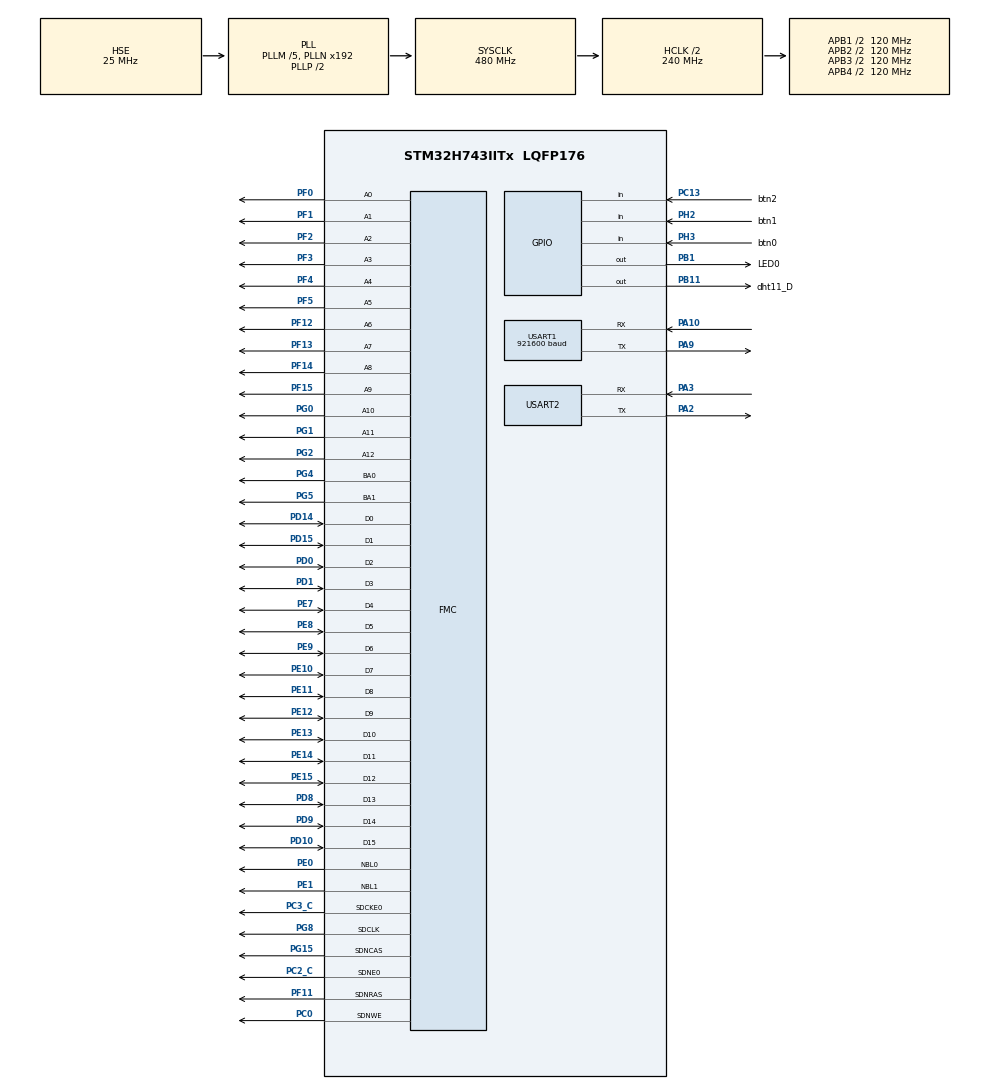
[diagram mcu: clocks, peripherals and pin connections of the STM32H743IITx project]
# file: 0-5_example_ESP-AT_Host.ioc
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CORTEX_M7.Enable_Spec=__NULL
CORTEX_M7.MPU_Control=__NULL
CORTEX_M7.default_mode_Activation=0
Dma.Request0=USART1_RX
Dma.Request1=USART1_TX
Dma.Request2=USART2_RX
Dma.Request3=USART2_TX
Dma.USART1_RX.0.Direction=DMA_PERIPH_TO_MEMORY
Dma.USART1_RX.0.EventEnable=DISABLE
Dma.USART1_RX.0.FIFOMode=DMA_FIFOMODE_DISABLE
Dma.USART1_RX.0.Instance=DMA1_Stream0
Dma.USART1_RX.0.MemDataAlignment=DMA_MDATAALIGN_BYTE
Dma.USART1_RX.0.MemInc=DMA_MINC_ENABLE
Dma.USART1_RX.0.Mode=DMA_NORMAL
Dma.USART1_RX.0.PeriphDataAlignment=DMA_PDATAALIGN_BYTE
Dma.USART1_RX.0.PeriphInc=DMA_PINC_DISABLE
Dma.USART1_RX.0.Polarity=HAL_DMAMUX_REQ_GEN_RISING
Dma.USART1_RX.0.Priority=DMA_PRIORITY_LOW
Dma.USART1_RX.0.RequestNumber=1
Dma.USART1_RX.0.SignalID=NONE
Dma.USART1_RX.0.SyncEnable=DISABLE
Dma.USART1_RX.0.SyncPolarity=HAL_DMAMUX_SYNC_NO_EVENT
Dma.USART1_RX.0.SyncRequestNumber=1
Dma.USART1_RX.0.SyncSignalID=NONE
Dma.USART1_TX.1.Direction=DMA_MEMORY_TO_PERIPH
Dma.USART1_TX.1.EventEnable=DISABLE
Dma.USART1_TX.1.FIFOMode=DMA_FIFOMODE_DISABLE
Dma.USART1_TX.1.Instance=DMA1_Stream1
Dma.USART1_TX.1.MemDataAlignment=DMA_MDATAALIGN_BYTE
Dma.USART1_TX.1.MemInc=DMA_MINC_ENABLE
Dma.USART1_TX.1.Mode=DMA_NORMAL
Dma.USART1_TX.1.PeriphDataAlignment=DMA_PDATAALIGN_BYTE
Dma.USART1_TX.1.PeriphInc=DMA_PINC_DISABLE
Dma.USART1_TX.1.Polarity=HAL_DMAMUX_REQ_GEN_RISING
Dma.USART1_TX.1.Priority=DMA_PRIORITY_LOW
Dma.USART1_TX.1.RequestNumber=1
Dma.USART1_TX.1.SignalID=NONE
Dma.USART1_TX.1.SyncEnable=DISABLE
Dma.USART1_TX.1.SyncPolarity=HAL_DMAMUX_SYNC_NO_EVENT
Dma.USART1_TX.1.SyncRequestNumber=1
Dma.USART1_TX.1.SyncSignalID=NONE
Dma.USART2_RX.2.Direction=DMA_PERIPH_TO_MEMORY
Dma.USART2_RX.2.EventEnable=DISABLE
Dma.USART2_RX.2.FIFOMode=DMA_FIFOMODE_DISABLE
Dma.USART2_RX.2.Instance=DMA1_Stream2
Dma.USART2_RX.2.MemDataAlignment=DMA_MDATAALIGN_BYTE
Dma.USART2_RX.2.MemInc=DMA_MINC_ENABLE
Dma.USART2_RX.2.Mode=DMA_CIRCULAR
Dma.USART2_RX.2.PeriphDataAlignment=DMA_PDATAALIGN_BYTE
Dma.USART2_RX.2.PeriphInc=DMA_PINC_DISABLE
Dma.USART2_RX.2.Polarity=HAL_DMAMUX_REQ_GEN_RISING
Dma.USART2_RX.2.Priority=DMA_PRIORITY_VERY_HIGH
Dma.USART2_RX.2.RequestNumber=1
Dma.USART2_RX.2.SignalID=NONE
Dma.USART2_RX.2.SyncEnable=DISABLE
Dma.USART2_RX.2.SyncPolarity=HAL_DMAMUX_SYNC_NO_EVENT
Dma.USART2_RX.2.SyncRequestNumber=1
Dma.USART2_RX.2.SyncSignalID=NONE
Dma.USART2_TX.3.Direction=DMA_MEMORY_TO_PERIPH
Dma.USART2_TX.3.EventEnable=DISABLE
Dma.USART2_TX.3.FIFOMode=DMA_FIFOMODE_DISABLE
Dma.USART2_TX.3.Instance=DMA1_Stream3
Dma.USART2_TX.3.MemDataAlignment=DMA_MDATAALIGN_BYTE
Dma.USART2_TX.3.MemInc=DMA_MINC_ENABLE
Dma.USART2_TX.3.Mode=DMA_NORMAL
Dma.USART2_TX.3.PeriphDataAlignment=DMA_PDATAALIGN_BYTE
Dma.USART2_TX.3.PeriphInc=DMA_PINC_DISABLE
Dma.USART2_TX.3.Polarity=HAL_DMAMUX_REQ_GEN_RISING
Dma.USART2_TX.3.Priority=DMA_PRIORITY_VERY_HIGH
Dma.USART2_TX.3.RequestNumber=1
Dma.USART2_TX.3.SignalID=NONE
Dma.USART2_TX.3.SyncEnable=DISABLE
Dma.USART2_TX.3.SyncPolarity=HAL_DMAMUX_SYNC_NO_EVENT
Dma.USART2_TX.3.SyncRequestNumber=1
Dma.USART2_TX.3.SyncSignalID=NONE
FMC.CASLatency1=FMC_SDRAM_CAS_LATENCY_2
FMC.ColumnBitsNumber1=FMC_SDRAM_COLUMN_BITS_NUM_9
FMC.ExitSelfRefreshDelay1=8
FMC.LoadToActiveDelay1=2
FMC.RCDDelay1=2
FMC.RPDelay1=2
FMC.RPDelay2=2
FMC.ReadBurst1=FMC_SDRAM_RBURST_ENABLE
FMC.ReadBurst2=FMC_SDRAM_RBURST_ENABLE
FMC.ReadPipeDelay1=FMC_SDRAM_RPIPE_DELAY_1
FMC.ReadPipeDelay2=FMC_SDRAM_RPIPE_DELAY_1
FMC.RowCycleDelay1=6
FMC.RowCycleDelay2=6
FMC.SDClockPeriod1=FMC_SDRAM_CLOCK_PERIOD_2
FMC.SDClockPeriod2=FMC_SDRAM_CLOCK_PERIOD_2
FMC.SelfRefreshTime1=6
FMC.WriteRecoveryTime1=4
Mcu.Family=STM32H7
Mcu.Name=STM32H743IITx
Mcu.Package=LQFP176
NVIC.DMA1_Stream0_IRQn=true\:0\:0\:false\:false\:true\:false\:true\:true
NVIC.DMA1_Stream1_IRQn=true\:0\:0\:false\:false\:true\:false\:true\:true
NVIC.DMA1_Stream2_IRQn=true\:0\:0\:false\:false\:true\:false\:true\:true
NVIC.DMA1_Stream3_IRQn=true\:0\:0\:false\:false\:true\:false\:true\:true
NVIC.FMC_IRQn=true\:0\:0\:false\:false\:true\:true\:true\:true
NVIC.PriorityGroup=NVIC_PRIORITYGROUP_4
NVIC.TIM2_IRQn=true\:0\:0\:false\:false\:true\:true\:true\:true
NVIC.USART1_IRQn=true\:0\:0\:false\:false\:true\:true\:true\:true
NVIC.USART2_IRQn=true\:0\:0\:false\:false\:true\:true\:true\:true
PA10.GPIO_Speed=GPIO_SPEED_FREQ_VERY_HIGH
PA10.Mode=Asynchronous
PA10.Signal=USART1_RX
PA13\ (JTMS/SWDIO).Mode=Serial_Wire
PA13\ (JTMS/SWDIO).Signal=DEBUG_JTMS-SWDIO
PA14\ (JTCK/SWCLK).Mode=Serial_Wire
PA14\ (JTCK/SWCLK).Signal=DEBUG_JTCK-SWCLK
PA2.Mode=Asynchronous
PA2.Signal=USART2_TX
PA3.Mode=Asynchronous
PA3.Signal=USART2_RX
PA9.GPIO_Speed=GPIO_SPEED_FREQ_VERY_HIGH
PA9.Mode=Asynchronous
PA9.Signal=USART1_TX
PB1.GPIO_Label=LED0
PB1.PinState=GPIO_PIN_SET
PB1.Signal=GPIO_Output
PB11.GPIO_Label=dht11_D
PB11.GPIO_Speed=GPIO_SPEED_FREQ_MEDIUM
PB11.Signal=GPIO_Output
PC0.Signal=FMC_SDNWE
PC13.GPIO_Label=btn2
PC13.GPIO_PuPd=GPIO_PULLUP
PC13.Signal=GPIO_Input
PC14-OSC32_IN\ (OSC32_IN).Mode=LSE-External-Oscillator
PC14-OSC32_IN\ (OSC32_IN).Signal=RCC_OSC32_IN
PC15-OSC32_OUT\ (OSC32_OUT).Mode=LSE-External-Oscillator
PC15-OSC32_OUT\ (OSC32_OUT).Signal=RCC_OSC32_OUT
PC2_C.Mode=SdramChipSelect1_1
PC2_C.Signal=FMC_SDNE0
PC3_C.Mode=SdramChipSelect1_1
PC3_C.Signal=FMC_SDCKE0
PD0.Signal=FMC_D2_DA2
PD1.Signal=FMC_D3_DA3
PD10.Signal=FMC_D15_DA15
PD14.Signal=FMC_D0_DA0
PD15.Signal=FMC_D1_DA1
PD8.Signal=FMC_D13_DA13
PD9.Signal=FMC_D14_DA14
PE0.Signal=FMC_NBL0
PE1.Signal=FMC_NBL1
PE10.Signal=FMC_D7_DA7
PE11.Signal=FMC_D8_DA8
PE12.Signal=FMC_D9_DA9
PE13.Signal=FMC_D10_DA10
PE14.Signal=FMC_D11_DA11
PE15.Signal=FMC_D12_DA12
PE7.Signal=FMC_D4_DA4
PE8.Signal=FMC_D5_DA5
PE9.Signal=FMC_D6_DA6
PF0.Signal=FMC_A0
PF1.Signal=FMC_A1
PF11.Signal=FMC_SDNRAS
PF12.Signal=FMC_A6
PF13.Signal=FMC_A7
PF14.Signal=FMC_A8
PF15.Signal=FMC_A9
PF2.Signal=FMC_A2
PF3.Signal=FMC_A3
PF4.Signal=FMC_A4
PF5.Signal=FMC_A5
PG0.Signal=FMC_A10
PG1.Signal=FMC_A11
PG15.Signal=FMC_SDNCAS
PG2.Signal=FMC_A12
PG4.Signal=FMC_A14_BA0
PG5.Signal=FMC_A15_BA1
PG8.Signal=FMC_SDCLK
PH0-OSC_IN\ (PH0).Mode=HSE-External-Oscillator
PH0-OSC_IN\ (PH0).Signal=RCC_OSC_IN
PH1-OSC_OUT\ (PH1).Mode=HSE-External-Oscillator
PH1-OSC_OUT\ (PH1).Signal=RCC_OSC_OUT
PH2.GPIO_Label=btn1
PH2.GPIO_PuPd=GPIO_PULLUP
PH2.Signal=GPIO_Input
PH3.GPIO_Label=btn0
PH3.GPIO_PuPd=GPIO_PULLUP
PH3.Signal=GPIO_Input
ProjectManager.HeapSize=0x1000
ProjectManager.StackSize=0x1000
ProjectManager.TargetToolchain=STM32CubeIDE
RCC.ADCFreq_Value=480000000
RCC.APB1Freq_Value=120000000
RCC.APB2Freq_Value=120000000
RCC.APB3Freq_Value=120000000
RCC.APB4Freq_Value=120000000
RCC.CortexFreq_Value=480000000
RCC.D1PPRE=RCC_APB3_DIV2
RCC.D2PPRE1=RCC_APB1_DIV2
RCC.D2PPRE2=RCC_APB2_DIV2
RCC.D3PPRE=RCC_APB4_DIV2
RCC.DIVM1=5
RCC.DIVM2=5
RCC.DIVM3=5
RCC.DIVN1=192
RCC.DIVN2=192
RCC.DIVN3=192
RCC.DIVQ1=4
RCC.DIVQ2=4
RCC.DIVQ3=4
RCC.DIVR2=4
RCC.HCLKFreq_Value=240000000
RCC.HPRE=RCC_HCLK_DIV2
RCC.HSE_VALUE=25000000
RCC.PLLSourceVirtual=RCC_PLLSOURCE_HSE
RCC.RTCClockSelection=RCC_RTCCLKSOURCE_LSE
RCC.SYSCLKFreq_VALUE=480000000
RCC.SYSCLKSource=RCC_SYSCLKSOURCE_PLLCLK
RCC.USBFreq_Value=240000000
RTC.Date=14
RTC.Format=RTC_FORMAT_BIN
RTC.Hours=22
RTC.Minutes=22
RTC.Month=RTC_MONTH_AUGUST
RTC.Seconds=22
RTC.WeekDay=RTC_WEEKDAY_THURSDAY
RTC.Year=25
SH.FMC_A0.0=FMC_A0,13b-sda1
SH.FMC_A1.0=FMC_A1,13b-sda1
SH.FMC_A10.0=FMC_A10,13b-sda1
SH.FMC_A11.0=FMC_A11,13b-sda1
SH.FMC_A12.0=FMC_A12,13b-sda1
SH.FMC_A14_BA0.0=FMC_BA0,FourSdramBanks1
SH.FMC_A15_BA1.0=FMC_BA1,FourSdramBanks1
SH.FMC_A2.0=FMC_A2,13b-sda1
SH.FMC_A3.0=FMC_A3,13b-sda1
SH.FMC_A4.0=FMC_A4,13b-sda1
SH.FMC_A5.0=FMC_A5,13b-sda1
SH.FMC_A6.0=FMC_A6,13b-sda1
SH.FMC_A7.0=FMC_A7,13b-sda1
SH.FMC_A8.0=FMC_A8,13b-sda1
SH.FMC_A9.0=FMC_A9,13b-sda1
SH.FMC_D0_DA0.0=FMC_D0,sd-16b-d1
SH.FMC_D10_DA10.0=FMC_D10,sd-16b-d1
SH.FMC_D11_DA11.0=FMC_D11,sd-16b-d1
SH.FMC_D12_DA12.0=FMC_D12,sd-16b-d1
SH.FMC_D13_DA13.0=FMC_D13,sd-16b-d1
SH.FMC_D14_DA14.0=FMC_D14,sd-16b-d1
SH.FMC_D15_DA15.0=FMC_D15,sd-16b-d1
SH.FMC_D1_DA1.0=FMC_D1,sd-16b-d1
SH.FMC_D2_DA2.0=FMC_D2,sd-16b-d1
SH.FMC_D3_DA3.0=FMC_D3,sd-16b-d1
SH.FMC_D4_DA4.0=FMC_D4,sd-16b-d1
SH.FMC_D5_DA5.0=FMC_D5,sd-16b-d1
SH.FMC_D6_DA6.0=FMC_D6,sd-16b-d1
SH.FMC_D7_DA7.0=FMC_D7,sd-16b-d1
SH.FMC_D8_DA8.0=FMC_D8,sd-16b-d1
SH.FMC_D9_DA9.0=FMC_D9,sd-16b-d1
SH.FMC_NBL0.0=FMC_NBL0,Sd2ByteEnable1
SH.FMC_NBL1.0=FMC_NBL1,Sd2ByteEnable1
SH.FMC_SDCLK.0=FMC_SDCLK,13b-sda1
SH.FMC_SDNCAS.0=FMC_SDNCAS,13b-sda1
SH.FMC_SDNRAS.0=FMC_SDNRAS,13b-sda1
SH.FMC_SDNWE.0=FMC_SDNWE,13b-sda1
TIM2.Period=10000
TIM2.Prescaler=24000-1
USART1.BaudRate=921600
USART1.VirtualMode-Asynchronous=VM_ASYNC
USART2.VirtualMode-Asynchronous=VM_ASYNC
VP_MEMORYMAP_VS_MEMORYMAP.Mode=CurAppReg
VP_RTC_VS_RTC_Activate.Mode=RTC_Enabled
VP_RTC_VS_RTC_Calendar.Mode=RTC_Calendar
VP_TIM2_VS_ClockSourceINT.Mode=Internal
board=custom

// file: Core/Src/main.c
/* USER CODE BEGIN Header */
/**
  ******************************************************************************
  * @file           : main.c
  * @brief          : Main program body
  ******************************************************************************
  * @attention
  *
  * Copyright (c) 2025 STMicroelectronics.
  * All rights reserved.
  *
  *
  * 此工程调通sdram(W9825G6KH)和内存管理
  *
  *
  *
  *
  ******************************************************************************
  */
/* USER CODE END Header */
#include "main.h"
#include "dma.h"
#include "rtc.h"
#include "tim.h"
#include "usart.h"
#include "gpio.h"
#include "fmc.h"

/* USER CODE BEGIN Includes */
//#define NDEBUG
#include "string.h"
#include "sys/sys.h"
#include "delay/delay.h"
#include "usart/retarget.h"

//BSP
#include "sdram/W9825G6KH.h"
#include "key/key.h"
#include "dht11/dht11.h"
#include "dht11/dht11_MQTT.h"
#include "key/button_event.h"
#include "esp_at/esp_app/esp_sys/esp_sys.h"
#include "esp_at/esp_app/esp_wifi/esp_wifi.h"

//APP
#include "MALLOC/malloc.h"
#include "SDRAM_test/sdram_test.h"
#include "RAMspeed_test/speed_test.h"

/* USER CODE END Includes */

/* USER CODE BEGIN PV */
char receivData[50] = {0};//存放接收内容(记得初始化)
uint8_t dataReady = 0;//发送标志位

/* USER CODE END PV */

void SystemClock_Config(void);
/* USER CODE BEGIN PFP */

//重定义'定时器周期回调'函数
static uint8_t time2 = 0;
static uint8_t pf1, pf2;
void HAL_TIM_PeriodElapsedCallback(TIM_HandleTypeDef *htim){	//1S周期回调
	if(htim == &htim2){
		time2++;
		if(time2%3 == 0) pf1 = 1;
		if(time2%5 == 0) pf2 = 1;
	}
}

//重定义'串口事件回调'函数
void HAL_UARTEx_RxEventCallback(UART_HandleTypeDef *huart, uint16_t Size){
	//ATuart_RxCpltHandle(huart);
	if(huart == &huart1){
		dataReady = 1;//在主函数里处理发送

		//处理数据...

		HAL_UARTEx_ReceiveToIdle_DMA(&huart1, (uint8_t*)receivData, 50);
	}
}
/* USER CODE END PFP */

/* USER CODE BEGIN 0 */
wifi_info_t wifi_info1 = {
	.SSID = "test2",
	.PWD = "yu778834",
};

wifi_info_t wifi_info2 = {
	.SSID = "test2",
	.PWD = "yu778866",
};

/* USER CODE END 0 */

int main(void)
{

  /* MCU Configuration--------------------------------------------------------*/

  /* Reset of all peripherals, Initializes the Flash interface and the Systick. */
  HAL_Init();

  /* Configure the system clock */
  SystemClock_Config();

  /* USER CODE BEGIN SysInit */
  delay_init(480);

  /* USER CODE END SysInit */

  /* Initialize all configured peripherals */
  MX_GPIO_Init();
  MX_DMA_Init();
  MX_USART1_UART_Init();
  MX_FMC_Init();
  MX_USART2_UART_Init();
  MX_TIM2_Init();
  MX_RTC_Init();
  /* USER CODE BEGIN 2 */

  RetargetInit(&huart1);//printf使用的串口
  HAL_UARTEx_ReceiveToIdle_DMA(&huart1, (uint8_t*)receivData, 50);
#ifndef NDEBUG
  printf("printf init success!!\r\n");
#endif
  SDRAM_InitSequence();

#if 0
  //内存基本读写测试
  HAL_Delay(100);
  fsmc_sdram_test();
  HAL_Delay(100);
#endif
#if 1
  //内存池初始化
  my_mem_init(SRAMIN);
  my_mem_init(SRAMEX);
  my_mem_init(SRAM12);
  my_mem_init(SRAM4);
  my_mem_init(SRAMDTCM);
  my_mem_init(SRAMITCM);
  printf("mallco init success!!\r\n");
#endif

  Button_Init();
  DHT11_Init();
  dht11_MQTTInit();

  led_control_init();

  ESP_AT_sys_init(&huart2);

  HAL_TIM_Base_Start_IT(&htim2);	//开启定时

  /* USER CODE END 2 */

  /* Infinite loop */
  /* USER CODE BEGIN WHILE */
  while (1)
  {
		if (dataReady) {
			HAL_UART_Transmit(&huart1, (uint8_t*) receivData,strlen(receivData),HAL_MAX_DELAY);
			memset(receivData, 0, sizeof(receivData));
			dataReady = 0;
		}
		ESP_AT_sys_handle();
        Button_UPDATE();
	  if(pf1){
		  pf1 = 0;
		  printf(".\r\n");
	  }
	  if(pf2){
		  pf2 = 0;
		  if(!DHT11_ReadData()){
			  printf("T:%d  H:%d\r\n",DHT11_GetTemperature(), DHT11_GetHumidity());
		  }else{
			printf("dht11:err\r\n");
			DHT11_Init();
		  }
	  }

    /* USER CODE END WHILE */

  }
}

void SystemClock_Config(void)
{
  RCC_OscInitTypeDef RCC_OscInitStruct = {0};
  RCC_ClkInitTypeDef RCC_ClkInitStruct = {0};

  /** Supply configuration update enable
  */
  HAL_PWREx_ConfigSupply(PWR_LDO_SUPPLY);

  /** Configure the main internal regulator output voltage
  */
  __HAL_PWR_VOLTAGESCALING_CONFIG(PWR_REGULATOR_VOLTAGE_SCALE0);

  while(!__HAL_PWR_GET_FLAG(PWR_FLAG_VOSRDY)) {}

  /** Configure LSE Drive Capability
  */
  HAL_PWR_EnableBkUpAccess();
  __HAL_RCC_LSEDRIVE_CONFIG(RCC_LSEDRIVE_LOW);

  /** Initializes the RCC Oscillators according to the specified parameters
  * in the RCC_OscInitTypeDef structure.
  */
  RCC_OscInitStruct.OscillatorType = RCC_OSCILLATORTYPE_HSE|RCC_OSCILLATORTYPE_LSE;
  RCC_OscInitStruct.HSEState = RCC_HSE_ON;
  RCC_OscInitStruct.LSEState = RCC_LSE_ON;
  RCC_OscInitStruct.PLL.PLLState = RCC_PLL_ON;
  RCC_OscInitStruct.PLL.PLLSource = RCC_PLLSOURCE_HSE;
  RCC_OscInitStruct.PLL.PLLM = 5;
  RCC_OscInitStruct.PLL.PLLN = 192;
  RCC_OscInitStruct.PLL.PLLP = 2;
  RCC_OscInitStruct.PLL.PLLQ = 4;
  RCC_OscInitStruct.PLL.PLLR = 2;
  RCC_OscInitStruct.PLL.PLLRGE = RCC_PLL1VCIRANGE_2;
  RCC_OscInitStruct.PLL.PLLVCOSEL = RCC_PLL1VCOWIDE;
  RCC_OscInitStruct.PLL.PLLFRACN = 0;
  if (HAL_RCC_OscConfig(&RCC_OscInitStruct) != HAL_OK)
  {
    Error_Handler();
  }

  /** Initializes the CPU, AHB and APB buses clocks
  */
  RCC_ClkInitStruct.ClockType = RCC_CLOCKTYPE_HCLK|RCC_CLOCKTYPE_SYSCLK
                              |RCC_CLOCKTYPE_PCLK1|RCC_CLOCKTYPE_PCLK2
                              |RCC_CLOCKTYPE_D3PCLK1|RCC_CLOCKTYPE_D1PCLK1;
  RCC_ClkInitStruct.SYSCLKSource = RCC_SYSCLKSOURCE_PLLCLK;
  RCC_ClkInitStruct.SYSCLKDivider = RCC_SYSCLK_DIV1;
  RCC_ClkInitStruct.AHBCLKDivider = RCC_HCLK_DIV2;
  RCC_ClkInitStruct.APB3CLKDivider = RCC_APB3_DIV2;
  RCC_ClkInitStruct.APB1CLKDivider = RCC_APB1_DIV2;
  RCC_ClkInitStruct.APB2CLKDivider = RCC_APB2_DIV2;
  RCC_ClkInitStruct.APB4CLKDivider = RCC_APB4_DIV2;

  if (HAL_RCC_ClockConfig(&RCC_ClkInitStruct, FLASH_LATENCY_4) != HAL_OK)
  {
    Error_Handler();
  }
}

void Error_Handler(void)
{
  __disable_irq();
  while (1)
  {
  }
}
